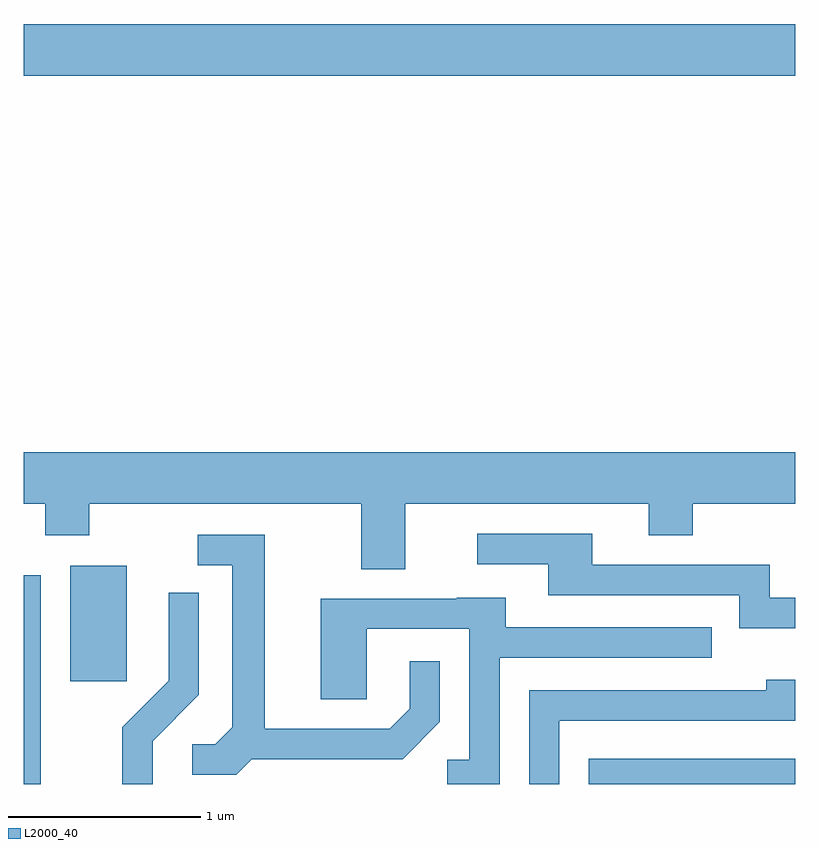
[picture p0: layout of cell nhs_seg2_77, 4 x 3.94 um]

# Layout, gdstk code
import gdstk
lib = gdstk.Library(unit=1e-6, precision=1e-09)
def R(c, l, rs):  # rectangles x0, y0, x1, y1
    for r in rs: c.add(gdstk.rectangle(r[:2], r[2:], *l))
def P(c, l, *ps):  # polygons
    for p in ps: c.add(gdstk.Polygon(p, *l))
L2000_40 = (2000, 40)

nhs_seg2_77 = lib.new_cell('nhs_seg2_77')
R(nhs_seg2_77, L2000_40, [(187.611,995.802,187.699,996.884), (190.541,995.802,191.611,995.934), (187.851,996.336,188.144,996.934), (187.611,999.476,191.611,999.744)])
P(nhs_seg2_77, L2000_40, [(189.589,997.256),(190.851,997.256),(190.851,997.091),(191.079,997.091),(191.079,997.256),(191.611,997.256),(191.611,997.524),(187.611,997.524),(187.611,997.256),(187.721,997.256),(187.721,997.091),(187.949,997.091),(187.949,997.256),(189.361,997.256),(189.361,996.916),(189.589,996.916)],
  [(191.611,996.769),(191.479,996.769),(191.479,996.939),(190.559,996.939),(190.559,997.099),(189.963,997.099),(189.963,996.941),(190.331,996.941),(190.331,996.781),(191.321,996.781),(191.321,996.611),(191.611,996.611)],
  [(188.792,995.931),(189.577,995.931),(189.769,996.124),(189.769,996.438),(189.611,996.438),(189.611,996.192),(189.509,996.089),(188.859,996.089),(188.859,997.094),(188.513,997.094),(188.513,996.936),(188.691,996.936),(188.691,996.097),(188.604,996.009),(188.483,996.009),(188.483,995.851),(188.712,995.851)],
  [(188.279,996.024),(188.519,996.264),(188.519,996.793),(188.361,996.793),(188.361,996.337),(188.121,996.097),(188.121,995.802),(188.279,995.802)],
  [(190.079,996.456),(191.178,996.456),(191.178,996.614),(190.109,996.614),(190.109,996.769),(189.855,996.769),(189.855,996.764),(189.151,996.764),(189.151,996.241),(189.389,996.241),(189.389,996.606),(189.921,996.606),(189.921,995.929),(189.808,995.929),(189.808,995.802),(190.079,995.802)],
  [(190.389,996.131),(191.611,996.131),(191.611,996.344),(191.461,996.344),(191.461,996.289),(190.231,996.289),(190.231,995.802),(190.389,995.802)])

lib.write_gds('nhs_seg2_77.gds')
